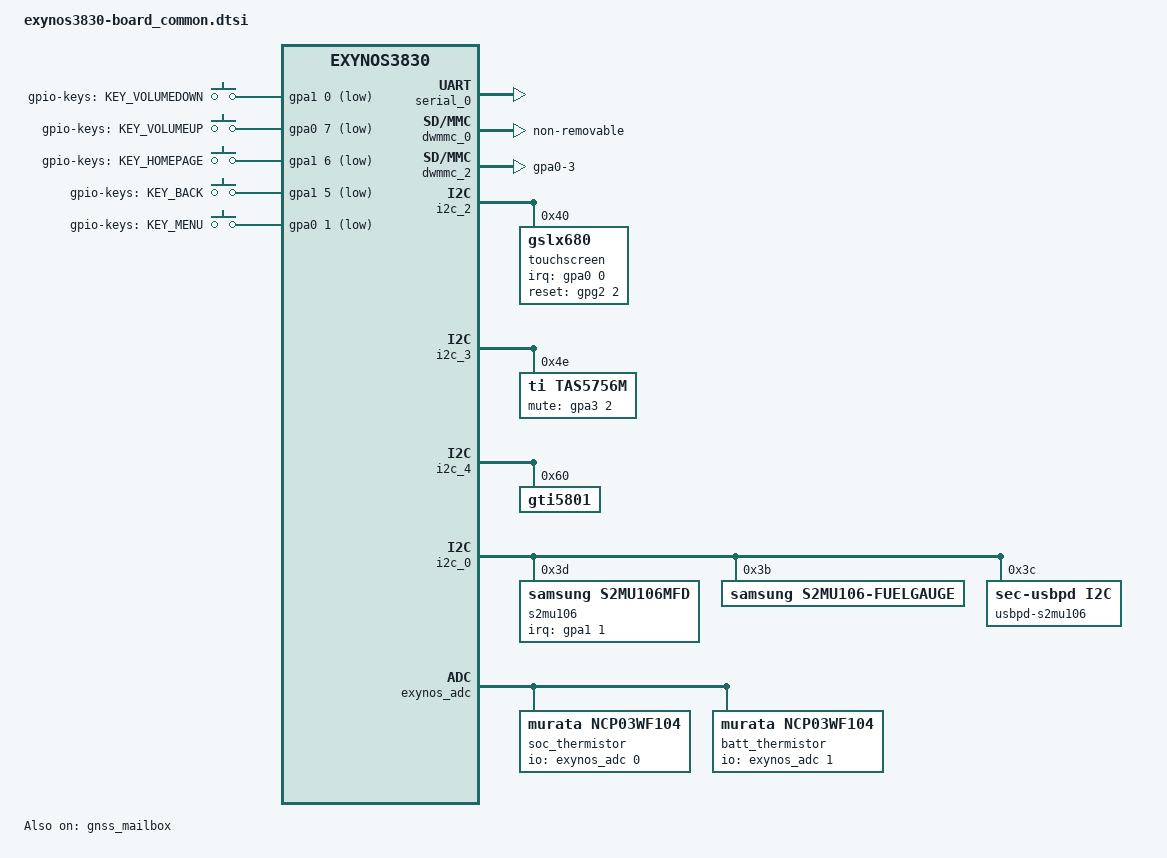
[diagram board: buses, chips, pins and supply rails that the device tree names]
/*
 * SAMSUNG EXYNOS9630 board common device tree source
 *
 * Copyright (c) 2019 Samsung Electronics Co., Ltd.
 *		http://www.samsung.com
 *
 * This program is free software; you can redistribute it and/or modify
 * it under the terms of the GNU General Public License version 2 as
 * published by the Free Software Foundation.
 */

#include <dt-bindings/interrupt-controller/exynos3830.h>
#include <dt-bindings/clock/exynos3830.h>
#include "exynos3830_battery_data.dtsi"

/ {
	fragment@common {
		target-path = "/";
		__overlay__ {
			#address-cells = <2>;
			#size-cells = <1>;

			fixed-rate-clocks {
				oscclk {
					compatible = "samsung,exynos9630-oscclk";
					clock-frequency = <26000000>;
				};
			};

			firmware {
				android {
					compatible = "android,firmware";
					vbmeta {
						compatible = "android,vbmeta";
						parts = "vbmeta,boot,system,vendor";
					};
				};
			};

			gpio_keys {
				status = "okay";
				compatible = "gpio-keys";
				pinctrl-names = "default";
				pinctrl-0 = <&key_voldown &key_volup &key_homepage &key_back &key_menu>;

				button@1 {
					label = "gpio-keys: KEY_VOLUMEDOWN";
					linux,code = <114>;
					gpios = <&gpa1 0 0xf>;
				};
				button@2 {
					label = "gpio-keys: KEY_VOLUMEUP";
					linux,code = <115>;
					gpios = <&gpa0 7 0xf>;
				};
				button@3 {
					label = "gpio-keys: KEY_HOMEPAGE";
					linux,code = <172>;
					gpios = <&gpa1 6 0xf>;
				};
				button@4 {
					label = "gpio-keys: KEY_BACK";
					linux,code = <158>;
					gpios = <&gpa1 5 0xf>;
				};
				button@5 {
					label = "gpio-keys: KEY_MENU";
					linux,code = <139>;
					gpios = <&gpa0 1 0xf>;
				};
			};

			ifconn {
				status = "okay";
				compatible = "samsung,ifconn";
				ifconn,usbpd = "s2mu106";
				ifconn,muic = "s2mu106-muic";
			};

			gnss_mailbox: gnss_mailbox {
				status = "okay";
				compatible = "samsung,exynos-gnss-mailbox";

				reg = <0x0 0x11980000 0x180>; /* MAILBOX AP2GNSS */

				interrupt-parent = <&gic>;
				interrupts = <GIC_SPI INTREQ__MAILBOX_GNSS2AP IRQ_TYPE_LEVEL_HIGH>;

				mbox,name = "gnss_mailbox";
				mbox,id = <0>;
			};

			gnssif {
				status = "okay";
				compatible = "samsung,exynos-gnss";

				interrupt-parent = <&gic>;
				interrupts = <GIC_SPI INTREQ__ALIVE_GNSS_ACTIVE IRQ_TYPE_LEVEL_HIGH>,
						<GIC_SPI INTREQ__GNSS_WDOG_RESET IRQ_TYPE_EDGE_RISING>,
						<GIC_SPI INTREQ__GNSS_WAKEUP_INT IRQ_TYPE_LEVEL_HIGH>,
						<GIC_SPI INTREQ__GNSS_SW_INT IRQ_TYPE_EDGE_RISING>;
				interrupt-names = "ACTIVE", "WATCHDOG", "WAKEUP", "SW_INIT";
				shmem,name = "KEPLER";
				device_node_name = "gnss_ipc";

				/* Mailbox */
				mbox_info = <&gnss_mailbox>;

				/* ap2gnss */
				mbx,int_bcmd = <0>;
				mbx,int_req_fault_info = <1>;
				mbx,int_ipc_msg = <2>;
				mbx,int_ack_wake_set = <3>;
				mbx,int_ack_wake_clr = <4>;

				/* gnss2ap */
				mbx,irq_bcmd = <0>;
				mbx,irq_rsp_fault_info = <1>;
				mbx,irq_ipc_msg = <2>;
				mbx,irq_req_wake_clr = <4>;
				mbx,irq_simple_lock = <15>;

				mbx,reg_bcmd_ctrl = <0>, <1>, <2>, <3>;

				/* Memory */
				memory-region = <&gnss_rmem>;

				reg_rx_ipc_msg = <1 5>;
				reg_tx_ipc_msg = <1 4>;
				reg_rx_head = <1 3>;
				reg_rx_tail = <1 2>;
				reg_tx_head = <1 1>;
				reg_tx_tail = <1 0>;
				fault_info = <1 0x200000 0x180000>;

				shmem,gnss_code_offset = <0x00000000>;
				shmem,gnss_code_size = <0x00000000>;
				shmem,ipc_offset = <0x00380000>;
				shmem,ipc_size = <0x00080000>;
				shmem,ipc_reg_cnt = <32>;
			};

			but_zones: but_zones {
				#list-but-cells = <3>;
			};

			exynos_rgt {
				compatible = "samsung,exynos-rgt";
				num-acpm-pmic = <1>;
			};

			acpm_mfd_bus@11A50000 {
				status = "okay";
				#address-cells = <1>;
				#size-cells = <0>;
				codec_aud3004x: aud3004x@07 {
					compatible = "codec,aud3004x";
					#sound-dai-cells = <0>;
					reg = <0x07>;
					i2c-speedy-address;
					dmic-bias-gpio = <&gpg2 7 0xf>;
					pinctrl-names = "default";
					amp-ldo-gpio = <&gpg3 0 0x0>;
					pinctrl-0 = <&dmic_bias &amp_ldo>;
					io-channels = <&exynos_adc 7>,<&exynos_adc 6>;
					io-channel-names = "adc-gdet","adc-ear";
					#io-channel-cells = <1>;
					mic-adc-range = <1404>;
					but-zones-list = <&but_zones 226 0 200>,
						<&but_zones 582 201 400>,
						<&but_zones 115 401 600>,
						<&but_zones 114 601 1161>;
					btn-release-value = <1404>;
				};
				s2mpu12mfd@00 {
					compatible = "samsung,s2mpu12mfd";
					acpm-ipc-channel = <2>;
					i2c-speedy-address;
					s2mpu12,wakeup = "enabled";
					reg = <0x00>;
					interrupts = <GIC_SPI INTREQ__PMIC IRQ_TYPE_LEVEL_HIGH>;
					pinctrl-names = "default";
					pinctrl-0 = <&pm_wrstbi>;
					/* RTC: wtsr/smpl */
					wtsr_en = "enabled"; /* enable */
					smpl_en = "enabled"; /* enable */
					wtsr_timer_val = <3>;	/* 1000ms */
					smpl_timer_val = <4>;	/* 500ms */
					check_jigon = <0>; /* do not check jigon */
					/* RTC: If it's first boot, reset rtc to 1/1/2019 12:00:00(Tue) */
					init_time,sec = <0>;
					init_time,min = <0>;
					init_time,hour = <12>;
					init_time,mday = <1>;
					init_time,mon = <0>;
					init_time,year = <119>;
					init_time,wday = <2>;

					s2mpu12-keys {
						button@1 {
							label = "pmic-keys: KEY_POWER";
							linux,code = <116>;
							wakeup = <1>;
						};
					};

					regulators {
						b1_reg: BUCK1 {
							regulator-name = "vdd_cpu";
							regulator-min-microvolt = <500000>;
							regulator-max-microvolt = <1200000>;
							regulator-always-on;
							regulator-ramp-delay = <6000>;
							regulator-initial-mode = <1>;
						};

						b2_reg: BUCK2 {
							regulator-name = "vdd_gpu";
							regulator-min-microvolt = <500000>;
							regulator-max-microvolt = <1200000>;
							regulator-always-on;
							regulator-ramp-delay = <6000>;
							regulator-initial-mode = <1>;
						};
/*
						b3_reg: BUCK3 {
							regulator-name = "vdd_cp";
							regulator-min-microvolt = <500000>;
							regulator-max-microvolt = <1200000>;
							regulator-always-on;
							regulator-ramp-delay = <6000>;
							regulator-initial-mode = <3>;
						};
 */
						b4_reg: BUCK4 {
							regulator-name = "vdd_lldo";
							regulator-min-microvolt = <900000>;
							regulator-max-microvolt = <1500000>;
							regulator-always-on;
							regulator-ramp-delay = <6000>;
							regulator-initial-mode = <3>;
						};

						b5_reg: BUCK5 {
							regulator-name = "vdd_mldo";
							regulator-min-microvolt = <1800000>;
							regulator-max-microvolt = <2100000>;
							regulator-always-on;
							regulator-ramp-delay = <6000>;
							regulator-initial-mode = <3>;
						};

						l1_reg: LDO1 {
							regulator-name = "vdd_ldo1";
							regulator-min-microvolt = <700000>;
							regulator-max-microvolt = <1300000>;
							regulator-always-on;
							regulator-ramp-delay = <12000>;
							regulator-initial-mode = <3>;
						};

						l2_reg: LDO2 {
							regulator-name = "vdd_ldo2";
							regulator-min-microvolt = <1600000>;
							regulator-max-microvolt = <1950000>;
							regulator-always-on;
							regulator-ramp-delay = <12000>;
							regulator-initial-mode = <3>;
						};

						l3_reg: LDO3 {
							regulator-name = "vdd_ldo3";
							regulator-min-microvolt = <700000>;
							regulator-max-microvolt = <1300000>;
							regulator-always-on;
							regulator-ramp-delay = <12000>;
							regulator-initial-mode = <1>;
						};

						l4_reg: LDO4 {
							regulator-name = "vdd_ldo4";
							regulator-min-microvolt = <1600000>;
							regulator-max-microvolt = <1950000>;
							regulator-always-on;
							regulator-ramp-delay = <12000>;
							regulator-initial-mode = <1>;
						};

						l5_reg: LDO5 {
							regulator-name = "vdd_ldo5";
							regulator-min-microvolt = <700000>;
							regulator-max-microvolt = <1300000>;
							regulator-always-on;
							regulator-ramp-delay = <12000>;
							regulator-initial-mode = <3>;
						};

						l6_reg: LDO6 {
							regulator-name = "vdd_ldo6";
							regulator-min-microvolt = <500000>;
							regulator-max-microvolt = <1187500>;
							regulator-always-on;
							regulator-ramp-delay = <12000>;
							regulator-initial-mode = <1>;
						};

						l7_reg: LDO7 {
							regulator-name = "vdd_ldo7";
							regulator-min-microvolt = <700000>;
							regulator-max-microvolt = <1300000>;
							regulator-always-on;
							regulator-ramp-delay = <12000>;
							regulator-initial-mode = <1>;
						};

						l8_reg: LDO8 {
							regulator-name = "vdd_ldo8";
							regulator-min-microvolt = <500000>;
							regulator-max-microvolt = <1300000>;
							regulator-always-on;
							regulator-ramp-delay = <12000>;
							regulator-initial-mode = <1>;
						};

						l9_reg: LDO9 {
							regulator-name = "vdd_ldo9";
							regulator-min-microvolt = <500000>;
							regulator-max-microvolt = <1300000>;
							regulator-always-on;
							regulator-ramp-delay = <12000>;
							regulator-initial-mode = <1>;
						};

						l10_reg: LDO10 {
							regulator-name = "vqmmc";
							regulator-min-microvolt = <1800000>;
							regulator-max-microvolt = <3375000>;
							regulator-ramp-delay = <12000>;
							regulator-initial-mode = <3>;
						};

						l11_reg: LDO11 {
							regulator-name = "vdd_ldo11";
							regulator-min-microvolt = <1800000>;
							regulator-max-microvolt = <3375000>;
							regulator-always-on;
							regulator-ramp-delay = <12000>;
							regulator-initial-mode = <3>;
						};
/*
						l12_reg: LDO12 {
							regulator-name = "vdd_ldo12";
							regulator-min-microvolt = <700000>;
							regulator-max-microvolt = <1300000>;
							regulator-always-on;
							regulator-ramp-delay = <12000>;
							regulator-initial-mode = <3>;
						};

						l13_reg: LDO13 {
							regulator-name = "vdd_ldo13";
							regulator-min-microvolt = <700000>;
							regulator-max-microvolt = <1300000>;
							regulator-always-on;
							regulator-ramp-delay = <12000>;
							regulator-initial-mode = <3>;
						};

						l14_reg: LDO14 {
							regulator-name = "vdd_ldo14";
							regulator-min-microvolt = <1600000>;
							regulator-max-microvolt = <1950000>;
							regulator-always-on;
							regulator-ramp-delay = <12000>;
							regulator-initial-mode = <3>;
						};

						l15_reg: LDO15 {
							regulator-name = "vdd_ldo15";
							regulator-min-microvolt = <1800000>;
							regulator-max-microvolt = <3375000>;
							regulator-always-on;
							regulator-ramp-delay = <12000>;
							regulator-initial-mode = <3>;
						};

						l16_reg: LDO16 {
							regulator-name = "vdd_ldo16";
							regulator-min-microvolt = <1800000>;
							regulator-max-microvolt = <3375000>;
							regulator-always-on;
							regulator-ramp-delay = <12000>;
							regulator-initial-mode = <3>;
						};

						l17_reg: LDO17 {
							regulator-name = "vdd_ldo17";
							regulator-min-microvolt = <700000>;
							regulator-max-microvolt = <1300000>;
							regulator-always-on;
							regulator-ramp-delay = <12000>;
							regulator-initial-mode = <3>;
						};

						l18_reg: LDO18 {
							regulator-name = "vdd_ldo18";
							regulator-min-microvolt = <700000>;
							regulator-max-microvolt = <1300000>;
							regulator-always-on;
							regulator-ramp-delay = <12000>;
							regulator-initial-mode = <3>;
						};

						l19_reg: LDO19 {
							regulator-name = "vdd_ldo19";
							regulator-min-microvolt = <700000>;
							regulator-max-microvolt = <1300000>;
							regulator-always-on;
							regulator-ramp-delay = <12000>;
							regulator-initial-mode = <3>;
						};

						l20_reg: LDO20 {
							regulator-name = "vdd_ldo20";
							regulator-min-microvolt = <1600000>;
							regulator-max-microvolt = <1950000>;
							regulator-always-on;
							regulator-ramp-delay = <12000>;
							regulator-initial-mode = <3>;
						};

						l21_reg: LDO21 {
							regulator-name = "vdd_ldo21";
							regulator-min-microvolt = <1800000>;
							regulator-max-microvolt = <3375000>;
							regulator-always-on;
							regulator-ramp-delay = <12000>;
							regulator-initial-mode = <3>;
						};

						l22_reg: LDO22 {
							regulator-name = "vdd_ldo22";
							regulator-min-microvolt = <1800000>;
							regulator-max-microvolt = <3375000>;
							regulator-always-on;
							regulator-ramp-delay = <12000>;
							regulator-initial-mode = <3>;
						};
 */
						l23_reg: LDO23 {
							regulator-name = "vdd_ldo23";
							regulator-min-microvolt = <1800000>;
							regulator-max-microvolt = <3375000>;
							regulator-always-on;
							regulator-ramp-delay = <12000>;
							regulator-initial-mode = <3>;
						};

						l24_reg: LDO24 {
							regulator-name = "vmmc";
							regulator-min-microvolt = <1800000>;
							regulator-max-microvolt = <3375000>;
							regulator-ramp-delay = <12000>;
							regulator-initial-mode = <3>;
						};

						l25_reg: LDO25 {
							regulator-name = "vdd_ldo25";
							regulator-min-microvolt = <1800000>;
							regulator-max-microvolt = <3375000>;
							regulator-always-on;
							regulator-ramp-delay = <12000>;
							regulator-initial-mode = <3>;
						};

						l26_reg: LDO26 {
							regulator-name = "vdd_ldo26";
							regulator-min-microvolt = <1800000>;
							regulator-max-microvolt = <3375000>;
							regulator-always-on;
							regulator-ramp-delay = <12000>;
							regulator-initial-mode = <3>;
						};

						l27_reg: LDO27 {
							regulator-name = "vdd_ldo27";
							regulator-min-microvolt = <1800000>;
							regulator-max-microvolt = <3375000>;
							regulator-always-on;
							regulator-ramp-delay = <12000>;
							regulator-initial-mode = <3>;
						};

						l28_reg: LDO28 {
							regulator-name = "vdd_ldo28";
							regulator-min-microvolt = <1600000>;
							regulator-max-microvolt = <1950000>;
							regulator-boot-on;
							regulator-ramp-delay = <12000>;
							regulator-initial-mode = <3>;
						};


						l29_reg: LDO29 {
							regulator-name = "vdd_ldo29";
							regulator-min-microvolt = <1050000>;
							regulator-max-microvolt = <1050000>;
							regulator-ramp-delay = <12000>;
							regulator-initial-mode = <3>;
						};

						l30_reg: LDO30 {
							regulator-name = "vdd_ldo30";
							regulator-min-microvolt = <1800000>;
							regulator-max-microvolt = <1800000>;
							regulator-ramp-delay = <12000>;
							regulator-initial-mode = <3>;
						};

						l31_reg: LDO31 {
							regulator-name = "vdd_ldo31";
							regulator-min-microvolt = <2800000>;
							regulator-max-microvolt = <2800000>;
							regulator-ramp-delay = <12000>;
							regulator-initial-mode = <3>;
						};

						l32_reg: LDO32 {
							regulator-name = "vdd_ldo32";
							regulator-min-microvolt = <2800000>;
							regulator-max-microvolt = <2800000>;
							regulator-ramp-delay = <12000>;
							regulator-initial-mode = <3>;
						};

						l33_reg: LDO33 {
							regulator-name = "vdd_aldo1";
							regulator-min-microvolt = <1600000>;
							regulator-max-microvolt = <1950000>;
							regulator-always-on;
							regulator-ramp-delay = <12000>;
							regulator-initial-mode = <3>;
						};

						l34_reg: LDO34 {
							regulator-name = "vdd_aldo2";
							regulator-min-microvolt = <1800000>;
							regulator-max-microvolt = <3375000>;
							regulator-always-on;
							regulator-ramp-delay = <12000>;
							regulator-initial-mode = <3>;
						};

						l35_reg: LDO35 {
							regulator-name = "vdd_ldo_core";
							regulator-min-microvolt = <1600000>;
							regulator-max-microvolt = <1950000>;
							regulator-always-on;
							regulator-ramp-delay = <12000>;
							regulator-initial-mode = <3>;
						};

						l36_reg: LDO36 {
							regulator-name = "vdd_ldo_buf";
							regulator-min-microvolt = <700000>;
							regulator-max-microvolt = <1300000>;
							regulator-always-on;
							regulator-ramp-delay = <12000>;
							regulator-initial-mode = <3>;
						};
					}; /* end of regulators */
				}; /* end of s2mpu12mfd@00 */
			}; /* end of acpm_mfd_bus@11a10000 */
		}; /* end of __overlay__ */
	}; /* end of fragment */
}; /* end of root */

&chosen {
	bootargs_ext = "";
};

&serial_0 {
	status = "okay";
};

&pinctrl_0 {
	attn_irq: attn-irq {
		samsung,pins = "gpa0-0";
		samsung,pin-function = <0xf>;
		samsung,pin-pud = <0>;
		samsung,pin-drv = <0>;
	};

	attn_input: attn-input {
		samsung,pins = "gpa0-0";
		samsung,pin-function = <0>;
		samsung,pin-pud = <1>;
	};

	key_voldown: key-voldown {
		samsung,pins = "gpa1-0";
		samsung,pin-function = <0xf>;
		samsung,pin-pud = <0>;
		samsung,pin-drv = <0>;
	};

	key_volup: key-volup {
		samsung,pins = "gpa0-7";
		samsung,pin-function = <0xf>;
		samsung,pin-pud = <0>;
		samsung,pin-drv = <0>;
	};

	key_homepage: key-homepage {
		samsung,pins = "gpa1-6";
		samsung,pin-function = <0xf>;
		samsung,pin-pud = <0>;
		samsung,pin-drv = <0>;
	};

	key_back: key-back {
		samsung,pins = "gpa1-5";
		samsung,pin-function = <0xf>;
		samsung,pin-pud = <0>;
		samsung,pin-drv = <0>;
	};

	key_menu: key-menu {
		samsung,pins = "gpa0-1";
		samsung,pin-function = <0xf>;
		samsung,pin-pud = <0>;
		samsung,pin-drv = <0>;
	};

	dwmmc2_cd_ext_irq: dwmmc2_cd_ext_irq {
		samsung,pins = "gpa0-3";
		samsung,pin-function = <0xf>;
		samsung,pin-pud = <0>;
		samsung,pin-drv = <4>;
	};

	if_pmic_irq: if-pmic-irq {
		samsung,pins = "gpa1-1";
		samsung,pin-function = <0>;
		samsung,pin-pud = <0>;
		samsung,pin-drv = <0>;
	};
	usbpd_irq: usbpd_irq {
		samsung,pins = "gpa0-2";
		samsung,pin-function = <0xf>;
		samsung,pin-pud = <3>;
		samsung-pin-drv = <3>;
	};
};

&dwmmc_0 {
	status = "okay";
	num-slots = <1>;
	broken-cd;
	fixed_voltage;
	supports-highspeed;
	mmc-ddr-1_8v;
	mmc-hs200-1_8v;
	mmc-hs400-1_8v;
	supports-8bit;
	supports-cmd23;
	supports-erase;
	mmc-hs400-enhanced-strobe;
	card-init-hwacg-ctrl;
	qos-dvfs-level = <334000>;
	enable-ulp-mode;
	/* support-cmdq; */
	fifo-depth = <0x40>;
	non-removable;
	desc-size = <4>;
	card-detect-delay = <200>;
	samsung,dw-mshc-ciu-div = <3>;
	samsung,dw-mshc-txdt-crc-timer-fastlimit = <0x34>;
	samsung,dw-mshc-txdt-crc-timer-initval = <0x38>;
	samsung,dw-mshc-hs400-tx-delay-line = <0x40>;
	samsung,dw-mshc-hs400-delay-line = <0x60>;
	samsung,dw-mshc-sdr-timing = <3 0 4 0>;
	samsung,dw-mshc-ddr-timing = <3 0 4 2>;
	samsung,dw-mshc-hs200-timing = <3 0 3 0>;
	samsung,dw-mshc-hs400-timing = <1 0 2 0>;
	samsung,dw-mshc-hs400-ulp-timing = <3 0 4 2>;

	num-ref-clks = <12>;
	ciu_clkin = <25 50 50 25 50 100 200 50 50 200 200 200>;

	/* Swapping clock drive strength */
	clk-drive-number = <4>;
	pinctrl-names = "default",
		"fast-slew-rate-1x",
		"fast-slew-rate-2x",
		"fast-slew-rate-3x",
		"fast-slew-rate-4x";
	pinctrl-0 = <&sd0_clk &sd0_cmd &sd0_rdqs &sd0_nreset &sd0_bus1 &sd0_bus4 &sd0_bus8>;
	pinctrl-1 = <&sd0_clk_fast_slew_rate_1x>;
	pinctrl-2 = <&sd0_clk_fast_slew_rate_2x>;
	pinctrl-3 = <&sd0_clk_fast_slew_rate_3x>;
	pinctrl-4 = <&sd0_clk_fast_slew_rate_4x>;

	slot@0 {
		reg = <0>;
		bus-width = <8>;
	};

};

&dwmmc_2 {
	#address-cells = <1>;
	#size-cells = <0>;
	status = "okay";
	num-slots = <1>;
	supports-4bit;
	supports-cmd23;
	supports-erase;
	supports-highspeed;
	sd-uhs-sdr50;
	sd-uhs-sdr104;
	card-detect-gpio;
	bypass-for-allpass;
	use-fine-tuning;
	card-init-hwacg-ctrl;
	skip-init-mmc-scan;
	use-runtime-pm;
	skip-init-no-tray;
	fifo-depth = <0x40>;
	desc-size = <4>;
	card-detect-delay = <400>;
	samsung,dw-mshc-ciu-div = <3>;
	clock-frequency = <800000000>;
	samsung,dw-mshc-sdr-timing = <3 0 2 0>;
	samsung,dw-mshc-ddr-timing = <3 0 2 1>;
	samsung,dw-mshc-sdr50-timing = <3 0 4 2>;
	samsung,dw-mshc-sdr104-timing = <3 0 3 0>;

	num-ref-clks = <9>;
	ciu_clkin = <25 50 50 25 50 100 200 50 50>;

	/* Swapping clock drive strength */
	clk-drive-number = <6>;
	pinctrl-names = "init",
		"fast-slew-rate-1x",
		"fast-slew-rate-1_5x",
		"fast-slew-rate-2x",
		"fast-slew-rate-2_5x",
		"fast-slew-rate-3x",
		"fast-slew-rate-4x",
		"pins-as-pdn",
		"pins-as-func";
	pinctrl-0 = <&sd2_clk &sd2_cmd &sd2_bus1 &sd2_bus4 &dwmmc2_cd_ext_irq>;
	pinctrl-1 = <&sd2_clk_fast_slew_rate_1x>;
	pinctrl-2 = <&sd2_clk_fast_slew_rate_1_5x>;
	pinctrl-3 = <&sd2_clk_fast_slew_rate_2x>;
	pinctrl-4 = <&sd2_clk_fast_slew_rate_2_5x>;
	pinctrl-5 = <&sd2_clk_fast_slew_rate_3x>;
	pinctrl-6 = <&sd2_clk_fast_slew_rate_4x>;
	pinctrl-7 = <&sd2_pins_as_pdn>;
	pinctrl-8 = <&sd2_clk &sd2_cmd &sd2_bus1 &sd2_bus4>;

	card-detect = <&gpa0 3 0xf>;
	slot@0 {
		reg = <0>;
		bus-width = <4>;
		disable-wp;
	};

	mmc-pmu-pad {
		offset = <0x1CA0>;
		mask = <0x800>;
		val = <0x800>;
	};
};

&pinctrl_5 {
	pm_wrstbi: pm-wrstbi {
		samsung,pins = "gpg1-7";
 		samsung,pin-con-pdn = <3>;
 		samsung,pin-pud-pdn = <0>;
	};

	vdd_on: vdd-on {
		samsung,pins = "gpg2-6";
		samsung,pin-function = <1>;
		samsung,pin-val = <1>;
		samsung,pin-pud = <3>;
		samsung,pin-drv = <3>;
	};

	vdd_off: vdd-off {
		samsung,pins = "gpg2-6";
		samsung,pin-functon = <1>;
		samsung,pin-val = <0>;
		samsung,pin-pud = <1>;
		samsung,pin-drv = <3>;
	};
};

&i2c_2 {
	status = "okay";
	#address-cells = <1>;
	#size-cells = <0>;
        samsung,i2c-max-bus-freq = <400000>;
	touchscreen@40 {
		compatible = "gslx680";
		reg = <0x40>;
		irq-gpios = <&gpa0 0 0>;
		reset-gpios = <&gpg2 2 0>;
                pinctrl-names = "irq_on", "irq_off";
                pinctrl-0 = <&attn_irq>;
                pinctrl-1 = <&attn_input>;
		touchscreen-size-x = <1200>;
		touchscreen-size-y = <1920>;
		touchscreen-max-p = <1024>;
		regulator_avdd = "vdd_ldo27";
		goodix,cfg-group0 = [
			41 D0 02 00 05 0A 34
			00 01 08 28 05 50 32
			03 05 00 00 00 00 00
			00 00 17 19 1E 14 8C
			2D 0E 3C 3E 82 0A 82
			0A 00 99 33 1D 00 00
			00 00 00 00 00 00 00
			00 2B 19 64 94 C0 02
			08 00 00 04 F2 1C 00
			B9 26 00 93 32 00 77
			42 00 62 57 00 62 00
			00 00 00 00 00 00 00
			00 00 00 00 00 00 00
			00 00 00 FF 65 00 00
			00 00 00 00 00 00 00
			19 46 00 00 00 00 32
			1C 1A 18 16 14 12 10
			0E 0C 0A 08 06 04 02
			00 00 00 00 00 00 00
			00 00 00 00 00 00 00
			00 00 00 02 04 06 08
			0A 0C 0F 10 12 13 14
			18 1C 1D 1E 1F 20 21
			22 24 26 28 29 2A FF
			00 00 00 00 00 00 00
			00 00 00 00 00 00 00
			00 00 B8 01];
		goodix,cfg-group4 = [
			53 D0 02 00 05 05 F5 D5 21 48 2D 0F
			5A 41 0E 05 00 00 32 32 20 00 05 14
			14 1A 14 8B 2B 0C B5 B7 EB 04 FF FE
			00 22 33 10 3C 80 00 00 00 1E 12 41
			23 12 5A AA BE 4A 55 04 00 14 19 04
			80 AB 00 7F AF 64 7E B3 00 7E B7 00
			7B BB 3C 7B 08 30 00 00 F8 70 50 FF
			FF 17 00 46 00 00 00 00 00 00 00 1E
			08 46 80 08 0A 00 A0 00 3C 28 19 19
			80 11 00 00 18 16 14 12 10 0E 0C 0A
			08 06 04 02 FF FF 28 00 32 20 00 06
			00 00 0A 06 10 08 0A 22 EB 04 26 24
			22 21 20 1F 1E 1D 1C 18 16 12 10 0F
			0C 0A 08 06 04 02 00 13 FF FF FF FF
			00 00 00 02 00 00 01 00 00 00 00 00
			00 00 00 00 28 0B 0B 00 00 00 00 00
			00 00 00 00 00 00 00 00 00 00 00 00
			00 00 00 00 00 00 00 00 00 00 00 00
			00 00 00 00 00 00 00 00 E6 10 EF 01];
	};
};

&i2c_3 {
	#address-cells = <1>;
    #size-cells = <0>;
    status = "okay";
    tas5756m:tas5756m@4E {
		compatible = "ti,tas5756m";
		status = "okay";
		reg = <0x4E>;
		tas5756m,mute_gpio = <&gpa3 2 0>;
	};
};

&i2c_4 {
    status = "okay";
    i2c-scl-rising-time-ns = <300>;
    i2c-scl-falling-time-ns = <15>;
    gti5801@60 {
        status ="okay";
        compatible = "gti5801";
        reg = <0x60>;
	spr5801_ldo_en = <&gpg1 2 0>;
    };
};

&i2c_0 {
	#address-cells = <1>;
	#size-cells = <0>;
	status = "okay";
	s2mu106@3d {
		compatible = "samsung,s2mu106mfd";
		reg = <0x3d>;
		pinctrl-names = "default";
		pinctrl-0 = <&if_pmic_irq>;
		s2mu106,irq-gpio = <&gpa1 1 0>;
		s2mu106,wakeup;

		rgb_led {
			status = "okay";
			default_current = <100>;
			max_current = <200>;
			s2mu106-channel1 {
				id = <0>;
			};

			s2mu106-channel2 {
				id = <1>;
			};

			s2mu106-channel3 {
				id = <2>;
			};
		};

		s2mu106-charger {
			status = "okay";
			battery,charger_name = "s2mu106-charger";
			battery,chg_gpio_en = <0>;
			battery,chg_polarity_en = <0>;
			battery,chg_gpio_status = <0>;
			battery,chg_polarity_status = <0>;
			battery,chg_float_voltage = <4350>;
			battery,chg_recharge_vcell = <4250>;
			battery,chg_full_vcell = <4300>;
			battery,full_check_type = <2>;
			battery,full_check_type_2nd = <2>;
			battery,input_current_limit = <
				500 450 500 1200 500 1200 1200 1000 1000 1000
				1000 500 500 1200 1000 500 450>;
			battery,fast_charging_current =	<
				500 450 500 1200 500 1200 1200 1000 1000 1000
				1000 500 500 1200 1000 500 450>;
			battery,full_check_current_1st = <
				300 0 300 300 300 300 300 300 300 300
				300 300 300 300 300 300 0>;
			battery,full_check_current_2nd = <
				100 0 100 100 100 100 100 100 100 100
				100 100 100 100 100 100 0>;
		};


		s2mu106-haptic{
			status = "okay";
			compatible = "samsung,s2mu106-haptic";
			haptic,pwm_id = <0>;
			haptic,operation_mode = <0>;
		};
	};

	s2mu106-fuelgauge@3B {
		compatible = "samsung,s2mu106-fuelgauge";
		reg = <0x3B>;
		pinctrl-names = "default";
		fuelgauge,fuel_alert_vol = <3400>;
		fuelgauge,fuel_alert_soc = <1>;
		fuelgauge,type_str = "SDI";
		fuelgauge,model_type = <1>;
	};

	usbpd-s2mu106@3C {
		compatible = "sec-usbpd,i2c";
		reg = <0x3C>;
		pinctrl-names = "default";
		pinctrl-0 = <&usbpd_irq>;
		usbpd,usbpd_int = <&gpa0 2 0>;

		pdic-manager {
			/* sink */
			pdic,max_power = <5000>;
			pdic_op_power = <2500>;
			pdic_max_voltage = <6000>;
			pdic_max_current = <2000>;
			pdic,min_current = <500>;

			pdic,giveback = <0>;
			pdic,usb_com_capable = <1>;
			pdic,no_usb_suspend = <1>;

			/* source */
			source,max_voltage = <5000>;
			source,min_voltage = <4000>;
			source,max_power = <2500>;

			/* sink cap */
			sink,capable_max_voltage = <5000>;
		};
	};
};

&exynos_adc {
	statuss = "okay";
	soc_thermistor {
		compatible = "murata,ncp03wf104";
		status = "okay";
		pullup-uv = <1800000>;
		pullup-ohm = <100000>;
		pulldown-ohm = <0>;
		io-channels = <&exynos_adc 0>;
		io-channel-names = "soc_therm";
	};
	batt_thermistor {
		compatible = "murata,ncp03wf104";
		status = "okay";
		pullup-uv = <1800000>;
		pullup-ohm = <100000>;
		pulldown-ohm = <0>;
		io-channels = <&exynos_adc 1>;
		io-channel-names = "batt_therm";
	};
};
